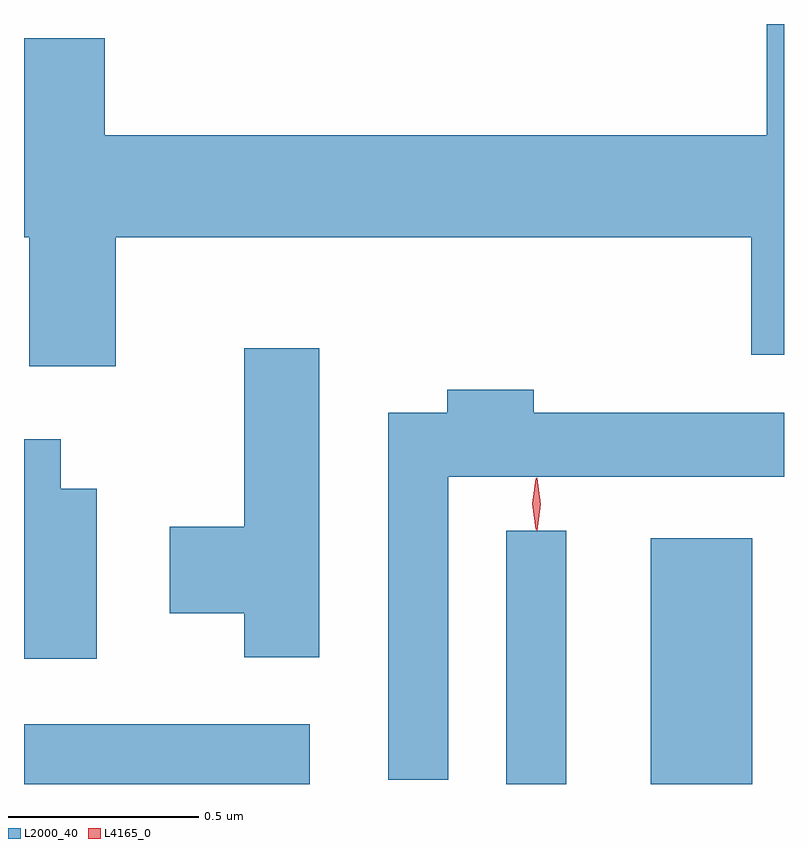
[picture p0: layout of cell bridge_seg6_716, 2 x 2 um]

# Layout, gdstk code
import gdstk
lib = gdstk.Library(unit=1e-6, precision=1e-09)
def R(c, l, rs):  # rectangles x0, y0, x1, y1
    for r in rs: c.add(gdstk.rectangle(r[:2], r[2:], *l))
def P(c, l, *ps):  # polygons
    for p in ps: c.add(gdstk.Polygon(p, *l))
L2000_40 = (2000, 40)
L4165_0 = (4165, 0)

bridge_seg6_716 = lib.new_cell('bridge_seg6_716')
R(bridge_seg6_716, L2000_40, [(308.697,1586.337,309.449,1586.494), (309.966,1586.337,310.124,1587.003), (310.346,1586.337,310.614,1586.984)])
P(bridge_seg6_716, L2000_40, [(308.939,1587.776),(310.611,1587.776),(310.611,1587.466),(310.697,1587.466),(310.697,1588.337),(310.651,1588.337),(310.651,1588.044),(308.909,1588.044),(308.909,1588.299),(308.697,1588.299),(308.697,1587.776),(308.711,1587.776),(308.711,1587.436),(308.939,1587.436)],
  [(309.474,1587.484),(309.276,1587.484),(309.276,1587.014),(309.081,1587.014),(309.081,1586.786),(309.276,1586.786),(309.276,1586.671),(309.474,1586.671)],
  [(309.814,1587.146),(310.697,1587.146),(310.697,1587.314),(310.039,1587.314),(310.039,1587.374),(309.811,1587.374),(309.811,1587.314),(309.656,1587.314),(309.656,1586.348),(309.814,1586.348)],
  [(308.889,1587.114),(308.794,1587.114),(308.794,1587.244),(308.697,1587.244),(308.697,1586.666),(308.889,1586.666)])
P(bridge_seg6_716, L4165_0, [(310.047,1587.003),(310.046,1587.004),(310.037,1587.073),(310.046,1587.142),(310.047,1587.143),(310.048,1587.142),(310.057,1587.073),(310.048,1587.004)],
  [(310.044,1587.007),(310.035,1587.074),(310.044,1587.14),(310.045,1587.141),(310.045,1587.14),(310.055,1587.074),(310.045,1587.007),(310.045,1587.007)])

lib.write_gds('bridge_seg6_716.gds')
